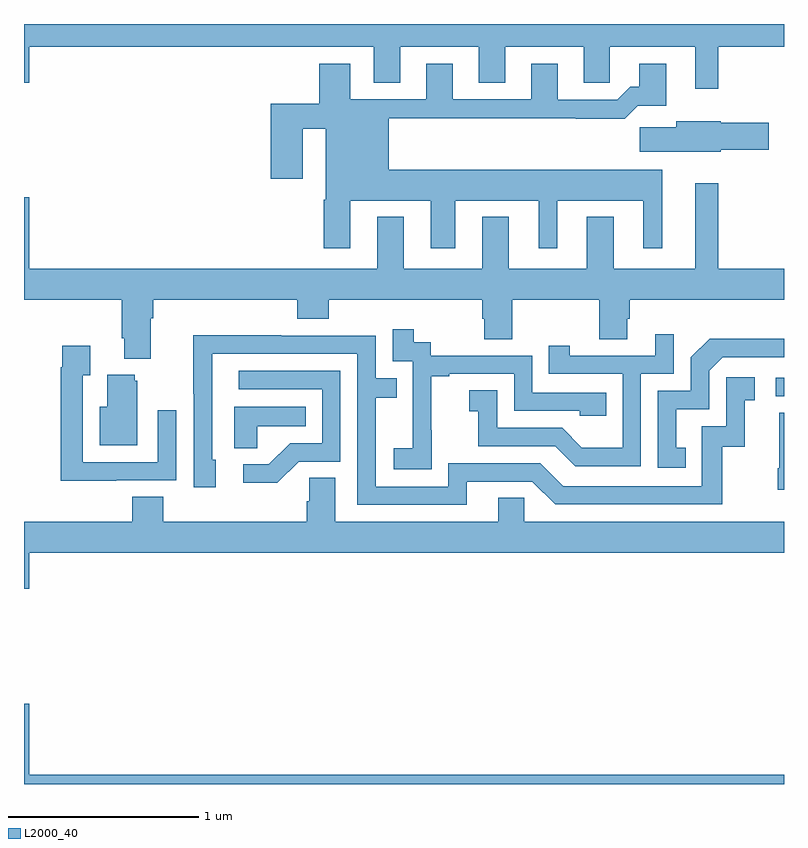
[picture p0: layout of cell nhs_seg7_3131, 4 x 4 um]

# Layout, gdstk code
import gdstk
lib = gdstk.Library(unit=1e-6, precision=1e-09)
def R(c, l, rs):  # rectangles x0, y0, x1, y1
    for r in rs: c.add(gdstk.rectangle(r[:2], r[2:], *l))
def P(c, l, *ps):  # polygons
    for p in ps: c.add(gdstk.Polygon(p, *l))
L2000_40 = (2000, 40)

nhs_seg7_3131 = lib.new_cell('nhs_seg7_3131')
R(nhs_seg7_3131, L2000_40, [(312.957,1068.042,313,1068.138)])
P(nhs_seg7_3131, L2000_40, [(312.655,1069.88),(313,1069.88),(313,1070),(309,1070),(309,1069.692),(309.028,1069.692),(309.028,1069.88),(310.841,1069.88),(310.841,1069.69),(310.981,1069.69),(310.981,1069.88),(311.393,1069.88),(311.393,1069.69),(311.533,1069.69),(311.533,1069.88),(311.945,1069.88),(311.945,1069.69),(312.084,1069.69),(312.084,1069.88),(312.533,1069.88),(312.533,1069.659),(312.655,1069.659)],
  [(310.717,1069.07),(311.141,1069.07),(311.141,1068.819),(311.269,1068.819),(311.269,1069.07),(311.708,1069.07),(311.708,1068.819),(311.806,1068.819),(311.806,1069.07),(312.26,1069.07),(312.26,1068.819),(312.358,1068.819),(312.358,1069.234),(310.921,1069.234),(310.921,1069.504),(311.905,1069.504),(311.905,1069.502),(312.161,1069.502),(312.23,1069.571),(312.379,1069.571),(312.379,1069.792),(312.239,1069.792),(312.239,1069.669),(312.19,1069.669),(312.123,1069.602),(311.809,1069.602),(311.809,1069.792),(311.669,1069.792),(311.669,1069.605),(311.257,1069.605),(311.257,1069.792),(311.117,1069.792),(311.117,1069.605),(310.717,1069.605),(310.717,1069.792),(310.553,1069.792),(310.553,1069.579),(310.298,1069.579),(310.298,1069.185),(310.468,1069.185),(310.468,1069.45),(310.589,1069.45),(310.589,1069.074),(310.577,1069.074),(310.577,1068.819),(310.717,1068.819)],
  [(312.666,1069.337),(312.919,1069.337),(312.919,1069.479),(312.666,1069.479),(312.666,1069.489),(312.434,1069.489),(312.434,1069.457),(312.24,1069.457),(312.24,1069.328),(312.666,1069.328)],
  [(309.667,1068.452),(309.68,1068.452),(309.68,1068.548),(310.439,1068.548),(310.439,1068.449),(310.604,1068.449),(310.604,1068.548),(311.411,1068.548),(311.411,1068.45),(311.423,1068.45),(311.423,1068.34),(311.571,1068.34),(311.571,1068.548),(312.028,1068.548),(312.028,1068.34),(312.175,1068.34),(312.175,1068.45),(312.188,1068.45),(312.188,1068.548),(313,1068.548),(313,1068.712),(312.655,1068.712),(312.655,1069.162),(312.533,1069.162),(312.533,1068.712),(312.103,1068.712),(312.103,1068.985),(311.963,1068.985),(311.963,1068.712),(311.551,1068.712),(311.551,1068.985),(311.411,1068.985),(311.411,1068.712),(310.999,1068.712),(310.999,1068.985),(310.859,1068.985),(310.859,1068.712),(309.028,1068.712),(309.028,1069.087),(309,1069.087),(309,1068.548),(309.515,1068.548),(309.515,1068.346),(309.527,1068.346),(309.527,1068.239),(309.667,1068.239)],
  [(311.145,1067.863),(311.144,1067.863),(311.144,1068.147),(311.239,1068.147),(311.239,1068.159),(311.58,1068.159),(311.58,1067.964),(311.925,1067.964),(311.925,1067.937),(312.065,1067.937),(312.065,1068.06),(311.676,1068.06),(311.676,1068.255),(311.142,1068.255),(311.142,1068.324),(311.05,1068.324),(311.05,1068.394),(310.941,1068.394),(310.941,1068.225),(311.046,1068.225),(311.046,1067.996),(311.045,1067.996),(311.045,1067.767),(310.947,1067.767),(310.947,1067.657),(311.145,1067.657)],
  [(312.246,1068.159),(312.42,1068.159),(312.42,1068.367),(312.323,1068.367),(312.323,1068.255),(311.872,1068.255),(311.872,1068.307),(311.761,1068.307),(311.761,1068.159),(312.15,1068.159),(312.15,1067.77),(311.936,1067.77),(311.832,1067.874),(311.49,1067.874),(311.49,1068.073),(311.343,1068.073),(311.343,1067.963),(311.392,1067.963),(311.392,1067.778),(311.795,1067.778),(311.9,1067.673),(312.246,1067.673)],
  [(311.329,1067.592),(311.676,1067.592),(311.796,1067.472),(312.676,1067.472),(312.676,1067.775),(312.794,1067.775),(312.794,1068.021),(312.847,1068.021),(312.847,1068.142),(312.696,1068.142),(312.696,1067.883),(312.567,1067.883),(312.567,1067.568),(311.838,1067.568),(311.718,1067.688),(311.232,1067.688),(311.232,1067.565),(310.851,1067.565),(310.851,1068.034),(310.961,1068.034),(310.961,1068.135),(310.851,1068.135),(310.851,1068.36),(310.355,1068.36),(310.355,1068.362),(309.892,1068.362),(309.892,1068.055),(309.894,1068.055),(309.894,1067.562),(310.009,1067.562),(310.009,1067.706),(309.99,1067.706),(309.99,1068.264),(310.755,1068.264),(310.755,1067.469),(311.329,1067.469)],
  [(312.482,1067.769),(312.433,1067.769),(312.433,1067.973),(312.606,1067.973),(312.606,1068.174),(312.678,1068.246),(313,1068.246),(313,1068.344),(312.608,1068.344),(312.51,1068.246),(312.51,1068.069),(312.336,1068.069),(312.336,1067.664),(312.482,1067.664)],
  [(309.485,1067.598),(309.801,1067.598),(309.801,1067.968),(309.705,1067.968),(309.705,1067.694),(309.309,1067.694),(309.309,1068.151),(309.349,1068.151),(309.349,1068.307),(309.201,1068.307),(309.201,1068.194),(309.193,1068.194),(309.193,1067.597),(309.485,1067.597)],
  [(310.446,1067.697),(310.665,1067.697),(310.665,1068.174),(310.131,1068.174),(310.131,1068.078),(310.569,1068.078),(310.569,1067.793),(310.4,1067.793),(310.289,1067.682),(310.155,1067.682),(310.155,1067.585),(310.333,1067.585)],
  [(309.595,1068.123),(309.584,1068.123),(309.584,1068.154),(309.437,1068.154),(309.437,1067.986),(309.398,1067.986),(309.398,1067.783),(309.595,1067.783)],
  [(310.227,1067.882),(310.484,1067.882),(310.484,1067.986),(310.106,1067.986),(310.106,1067.767),(310.227,1067.767)],
  [(313,1067.953),(312.974,1067.953),(312.974,1067.662),(312.967,1067.662),(312.967,1067.55),(313,1067.55)],
  [(309.028,1067.216),(313,1067.216),(313,1067.38),(311.634,1067.38),(311.634,1067.507),(311.495,1067.507),(311.495,1067.38),(310.639,1067.38),(310.639,1067.612),(310.5,1067.612),(310.5,1067.489),(310.487,1067.489),(310.487,1067.38),(309.734,1067.38),(309.734,1067.513),(309.569,1067.513),(309.569,1067.38),(309,1067.38),(309,1067.028),(309.028,1067.028)],
  [(313,1066.048),(309.028,1066.048),(309.028,1066.423),(309,1066.423),(309,1066),(313,1066)])

lib.write_gds('nhs_seg7_3131.gds')
